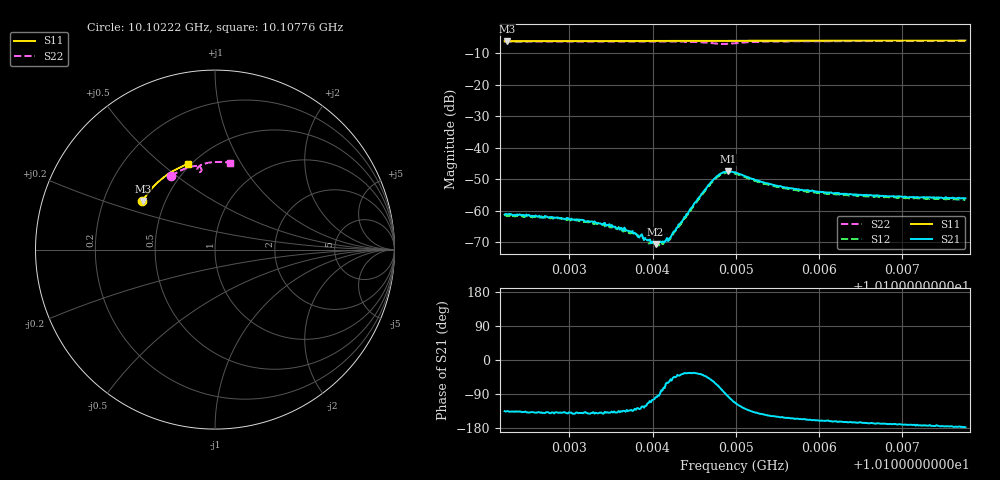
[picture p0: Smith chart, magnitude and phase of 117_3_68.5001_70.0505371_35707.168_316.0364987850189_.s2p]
#  HZ  S  RI  R  50.00
! Rohde & Schwarz Vector Network Analyzer
! Rohde-Schwarz,ZNB20-2Port,1311601062101988,3.16
! Created: UTC 3/20/2024, 5:08:58 PM
! freq[Hz]  re:S11  im:S11  re:S21  im:S21  re:S12  im:S12  re:S22  im:S22
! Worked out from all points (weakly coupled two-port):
!   401 points, 10.10222 GHz to 10.10776 GHz, reference 50 ohm
!   highest |S21| = -47.47 dB at 10.10491 GHz (marker M1); lowest = -70.6 dB at 10.10404 GHz (marker M2)
!   lowest |S11| = -6.3 dB at 10.10225 GHz (marker M3), VSWR 2.89, Z = 18.7 + j13.3 ohm
!   |S11| at or under -10 dB: nowhere
!   |S22| runs from -7.1 to -6.2 dB; largest |S21 - S12| = 0.00045
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1.0102222e10  -0.404 0.2695  -0.000619 -0.000615  -0.000563 -0.000647  -0.2441 0.4109
1.010225e10  -0.403 0.2709  -0.000623 -0.000622  -0.000544 -0.000638  -0.2423 0.412
1.0102873e10  -0.3823 0.3027  -0.000591 -0.000502  -0.00054 -0.000558  -0.2071 0.4326
1.010315e10  -0.3722 0.3162  -0.000551 -0.00047  -0.000465 -0.000499  -0.1907 0.441
1.0103482e10  -0.3596 0.3318  -0.000465 -0.000401  -0.000393 -0.000386  -0.17 0.4499
1.0103593e10  -0.3551 0.3369  -0.000384 -0.000389  -0.000339 -0.000436  -0.1629 0.4528
1.0103731e10  -0.3497 0.3432  -0.000324 -0.000347  -0.000265 -0.000348  -0.1537 0.4561
1.0103966e10  -0.34 0.3538  -0.000111 -0.000342  -7.98e-05 -0.000297  -0.1374 0.4611
1.0104036e10  -0.3371 0.3569  -4.31e-05 -0.000293  -1.9e-05 -0.000276  -0.1322 0.4624
1.0104077e10  -0.3352 0.3587  -2.4e-05 -0.000314  1.46e-05 -0.000283  -0.1292 0.4631
1.010416e10  -0.3318 0.3622  0.00016 -0.000304  0.000135 -0.000298  -0.1226 0.4644
1.0104216e10  -0.3294 0.3646  0.000239 -0.000294  0.000248 -0.000265  -0.1183 0.4651
1.010452e10  -0.3159 0.3773  0.00114 -0.000785  0.00115 -0.000652  -0.0904 0.4632
1.0104742e10  -0.3058 0.386  0.00168 -0.00277  0.00183 -0.00248  -0.0748 0.4431
1.0104825e10  -0.302 0.3893  0.000903 -0.00382  0.00119 -0.0036  -0.0806 0.4337
1.0104908e10  -0.2983 0.3925  -0.000478 -0.0042  -6.36e-05 -0.00404  -0.0915 0.4336
1.0104991e10  -0.2944 0.3957  -0.00157 -0.00379  -0.00118 -0.00368  -0.0976 0.4419
1.0105295e10  -0.2801 0.4073  -0.00231 -0.00179  -0.00204 -0.00192  -0.0829 0.4689
1.0105489e10  -0.2705 0.4141  -0.00216 -0.00127  -0.00197 -0.00139  -0.0682 0.4762
1.0105918e10  -0.2489 0.4287  -0.00197 -0.000763  -0.00177 -0.000897  -0.0369 0.484
1.0106846e10  -0.2 0.456  -0.00167 -0.000313  -0.00158 -0.000462  0.0255 0.4886
1.0107759e10  -0.149 0.477  -0.00158 -7.04e-05  -0.00148 -0.000232  0.0847 0.4842
